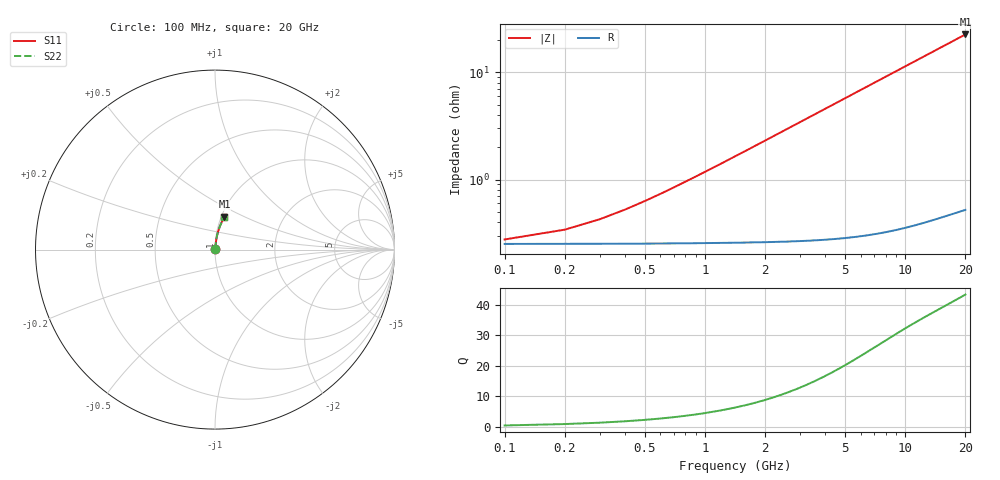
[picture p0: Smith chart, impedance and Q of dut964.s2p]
! Touchstone file exported from HFSS 2026.1.0
!  File:  C:/ffzhzh/LocalFiles/Ansys_Project_Files/temp_train_TSV_964_1783187587_18472.aedt
!  Generated:  01:56:11 AM Jul  5, 2026
!  Design:  TSV
!  Project:  temp_train_TSV_964_1783187587_18472
! Variables:
!  h_bsmrdl = 2um
!  h_ox = 20um
!  h_rdl = 5um
!  h_sub = 90.4um
!  h_tmrdl = 5um
!  h_tsv = 90.4um
!  h_via = 3um
!  l_bsmrdl = 300um
!  l_sub = 404.06um
!  l_tmrdl = 200um
!  m_sub = 200um
!  pitch = 55.67um
!  r_tsv = 2.03um
!  s_tmrdl = 10um
!  w_bsmrdl = 18um
!  w_sub = 500um
!  w_tmrdl = 12um
!  x_tsv_center1 = 206um
!  x_tsv_center2 = 524um
!  x_tsv_center3 = 736um
!  x_tsv_center4 = 1054um
!  x_tsv_center5 = 1266um
!  x_tsv_center6 = 1584um
# GHz S MA R 50.000000
! Terminal data exported
! Port[1] = TSV1_1_T1
! Port[2] = TSV1_1_T2
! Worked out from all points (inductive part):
!   200 points, 100 MHz to 20 GHz, reference 50 ohm
!   read as one part in series: L = 183 pH near 700 MHz
!   highest Q = 43.3 at 20 GHz (marker M1), where L = 180 pH
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0.1  0.00269 21.6  0.9975 -0.1  0.9975 -0.1  0.00269 21.6
! Gamma 0 0 0 0
! Port Impedance 50 0 50 0
0.2  0.003195 38.3  0.9975 -0.1  0.9975 -0.1  0.003195 38.3
0.4  0.004699 57.4  0.9975 -0.3  0.9975 -0.3  0.004699 57.4
0.5  0.005564 62.8  0.9975 -0.4  0.9975 -0.4  0.005564 62.8
0.7  0.007387 69.5  0.9975 -0.5  0.9975 -0.5  0.007387 69.5
0.8  0.008324 71.7  0.9974 -0.6  0.9974 -0.6  0.008324 71.7
1  0.01023 74.9  0.9974 -0.7  0.9974 -0.7  0.01023 74.9
1.3  0.01312 77.8  0.9974 -1.0  0.9974 -1.0  0.01312 77.8
1.7  0.017 80.0  0.9973 -1.3  0.9973 -1.3  0.017 80.0
2.2  0.02189 81.5  0.9972 -1.6  0.9972 -1.6  0.02189 81.5
2.8  0.02777 82.5  0.997 -2.1  0.997 -2.1  0.02777 82.5
3.5  0.03463 82.9  0.9967 -2.6  0.9967 -2.6  0.03463 82.9
4.2  0.04149 83.1  0.9964 -3.1  0.9964 -3.1  0.04149 83.1
5  0.04932 83.0  0.996 -3.7  0.996 -3.7  0.04932 83.0
5.9  0.0581 82.7  0.9954 -4.4  0.9954 -4.4  0.0581 82.7
6.8  0.06686 82.3  0.9947 -5.0  0.9947 -5.0  0.06686 82.3
8.3  0.08137 81.6  0.9934 -6.1  0.9934 -6.1  0.08137 81.6
10.1  0.09865 80.5  0.9916 -7.5  0.9916 -7.5  0.09865 80.5
11.7  0.1139 79.5  0.9897 -8.6  0.9897 -8.6  0.1139 79.5
13.4  0.1299 78.4  0.9875 -9.9  0.9875 -9.9  0.1299 78.4
16.7  0.1604 76.1  0.9825 -12.2  0.9825 -12.2  0.1604 76.1
20  0.1901 73.9  0.9767 -14.5  0.9767 -14.5  0.1901 73.9
